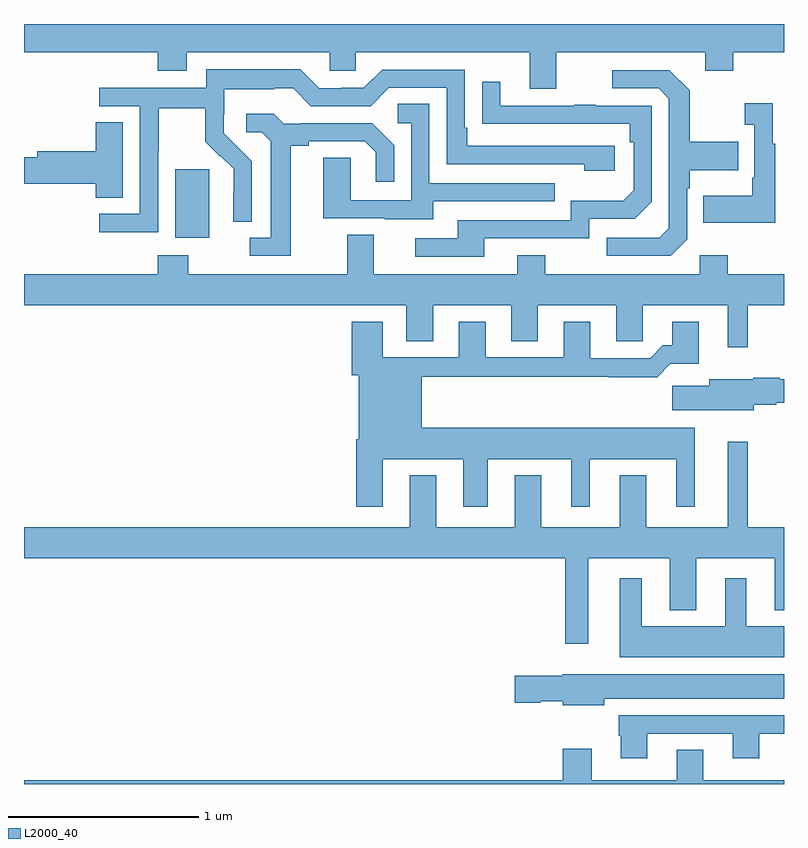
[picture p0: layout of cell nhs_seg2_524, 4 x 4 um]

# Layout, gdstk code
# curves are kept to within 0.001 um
import gdstk
lib = gdstk.Library(unit=1e-6, precision=1e-09)
def R(c, l, rs):  # rectangles x0, y0, x1, y1
    for r in rs: c.add(gdstk.rectangle(r[:2], r[2:], *l))
def P(c, l, *ps):  # polygons
    for p in ps: c.add(gdstk.Polygon(p, *l))
L2000_40 = (2000, 40)

nhs_seg2_524 = lib.new_cell('nhs_seg2_524')
R(nhs_seg2_524, L2000_40, [(137.795,630.674,137.974,631.035)])
P(nhs_seg2_524, L2000_40, [(139.801,631.652),(140.585,631.652),(140.585,631.553),(140.733,631.553),(140.733,631.652),(141,631.652),(141,631.8),(137,631.8),(137,631.652),(137.705,631.652),(137.705,631.553),(137.857,631.553),(137.857,631.652),(138.609,631.652),(138.609,631.554),(138.747,631.554),(138.747,631.652),(139.661,631.652),(139.661,631.458),(139.801,631.458)],
  [(137.706,631.132),(137.709,631.132),(137.709,631.356),(137.953,631.356),(137.953,631.181),(138.03,631.104),(138.033,631.107),(138.104,631.037),(138.104,630.914),(138.102,630.914),(138.102,630.76),(138.198,630.76),(138.198,631.078),(138.052,631.226),(138.052,631.323),(138.054,631.323),(138.054,631.457),(138.317,631.457),(138.317,631.461),(138.417,631.461),(138.51,631.368),(138.825,631.368),(138.921,631.464),(139.224,631.464),(139.224,631.062),(139.949,631.062),(139.949,631.028),(140.11,631.028),(140.11,631.158),(139.333,631.158),(139.333,631.255),(139.32,631.255),(139.32,631.56),(138.885,631.56),(138.789,631.464),(138.671,631.464),(138.671,631.461),(138.555,631.461),(138.455,631.561),(137.958,631.561),(137.958,631.464),(137.397,631.464),(137.397,631.368),(137.61,631.368),(137.61,630.801),(137.397,630.801),(137.397,630.703),(137.706,630.703)],
  [(140.49,630.666),(140.49,630.935),(140.503,630.935),(140.503,631.031),(140.759,631.031),(140.759,631.179),(140.503,631.179),(140.503,631.451),(140.397,631.557),(140.097,631.557),(140.097,631.461),(140.34,631.461),(140.394,631.407),(140.394,630.726),(140.343,630.675),(140.067,630.675),(140.067,630.579),(140.403,630.579)],
  [(139.423,630.672),(139.974,630.672),(139.974,630.774),(140.214,630.774),(140.304,630.864),(140.304,631.371),(140.009,631.371),(140.009,631.376),(139.897,631.376),(139.897,631.371),(139.507,631.371),(139.507,631.495),(139.411,631.495),(139.411,631.276),(140.188,631.275),(140.188,631.178),(140.208,631.178),(140.208,630.924),(140.155,630.871),(139.878,630.871),(139.878,630.768),(139.283,630.768),(139.283,630.672),(139.059,630.672),(139.059,630.576),(139.423,630.576)],
  [(140.953,631.171),(140.941,631.171),(140.941,631.384),(140.793,631.384),(140.793,631.271),(140.844,631.271),(140.844,630.991),(140.832,630.991),(140.832,630.895),(140.575,630.895),(140.575,630.755),(140.953,630.755)],
  [(139.153,630.867),(139.793,630.867),(139.793,630.963),(139.134,630.963),(139.134,631.379),(138.966,631.379),(138.966,631.278),(139.038,631.278),(139.038,630.873),(138.72,630.873),(138.72,631.097),(138.575,631.097),(138.575,630.777),(138.899,630.777),(138.899,630.773),(139.153,630.773)],
  [(138.403,631.16),(138.499,631.16),(138.499,631.182),(138.794,631.182),(138.851,631.125),(138.851,630.969),(138.948,630.969),(138.948,631.162),(138.832,631.278),(138.46,631.278),(138.46,631.275),(138.366,631.275),(138.314,631.327),(138.171,631.327),(138.171,631.23),(138.252,631.23),(138.299,631.183),(138.299,630.675),(138.189,630.675),(138.189,630.579),(138.403,630.579)],
  [(137.521,631.283),(137.378,631.283),(137.378,631.13),(137.069,631.13),(137.069,631.1),(137,631.1),(137,630.958),(137.378,630.958),(137.378,630.886),(137.521,630.886)],
  [(140.809,630.32),(141,630.32),(141,630.484),(140.703,630.484),(140.703,630.583),(140.556,630.583),(140.556,630.484),(139.743,630.484),(139.743,630.583),(139.595,630.583),(139.595,630.484),(138.841,630.484),(138.841,630.692),(138.701,630.692),(138.701,630.484),(137.865,630.484),(137.865,630.583),(137.705,630.583),(137.705,630.484),(137,630.484),(137,630.32),(139.013,630.32),(139.013,630.13),(139.153,630.13),(139.153,630.32),(139.565,630.32),(139.565,630.13),(139.705,630.13),(139.705,630.32),(140.117,630.32),(140.117,630.13),(140.256,630.13),(140.256,630.32),(140.705,630.32),(140.705,630.099),(140.809,630.099)],
  [(138.889,629.51),(139.313,629.51),(139.313,629.259),(139.441,629.259),(139.441,629.51),(139.88,629.51),(139.88,629.259),(139.978,629.259),(139.978,629.51),(140.432,629.51),(140.432,629.259),(140.53,629.259),(140.53,629.674),(139.093,629.674),(139.093,629.944),(140.077,629.944),(140.077,629.942),(140.333,629.942),(140.402,630.011),(140.551,630.011),(140.551,630.232),(140.411,630.232),(140.411,630.109),(140.362,630.109),(140.295,630.042),(139.981,630.042),(139.981,630.232),(139.841,630.232),(139.841,630.045),(139.429,630.045),(139.429,630.232),(139.289,630.232),(139.289,630.045),(138.889,630.045),(138.889,630.232),(138.725,630.232),(138.725,629.952),(138.761,629.952),(138.761,629.614),(138.749,629.614),(138.749,629.259),(138.889,629.259)],
  [(140.842,629.795),(140.958,629.795),(140.958,629.807),(141,629.807),(141,629.929),(140.978,629.929),(140.978,629.937),(140.838,629.937),(140.838,629.929),(140.606,629.929),(140.606,629.897),(140.412,629.897),(140.412,629.768),(140.842,629.768)],
  [(139.969,628.988),(140.399,628.988),(140.399,628.715),(140.539,628.715),(140.539,628.988),(140.951,628.988),(140.951,628.715),(141,628.715),(141,629.152),(140.809,629.152),(140.809,629.602),(140.705,629.602),(140.705,629.152),(140.275,629.152),(140.275,629.425),(140.135,629.425),(140.135,629.152),(139.723,629.152),(139.723,629.425),(139.583,629.425),(139.583,629.152),(139.171,629.152),(139.171,629.425),(139.031,629.425),(139.031,629.152),(137,629.152),(137,628.988),(139.848,628.988),(139.848,628.539),(139.969,628.539)],
  [(141,628.63),(140.8,628.63),(140.8,628.882),(140.69,628.882),(140.69,628.63),(140.251,628.63),(140.251,628.882),(140.135,628.882),(140.135,628.466),(141,628.466)],
  [(140.053,628.25),(141,628.25),(141,628.378),(139.836,628.378),(139.836,628.37),(139.584,628.37),(139.584,628.228),(139.716,628.228),(139.716,628.235),(139.836,628.235),(139.836,628.214),(140.053,628.214)],
  [(140.281,628.065),(140.729,628.065),(140.729,627.936),(140.869,627.936),(140.869,628.065),(141,628.065),(141,628.161),(140.129,628.161),(140.129,628.053),(140.141,628.053),(140.141,627.936),(140.281,627.936)],
  [(139.987,627.985),(139.835,627.985),(139.835,627.82),(137,627.82),(137,627.8),(141,627.8),(141,627.82),(140.575,627.82),(140.575,627.98),(140.435,627.98),(140.435,627.82),(139.987,627.82)])

lib.write_gds('nhs_seg2_524.gds')
